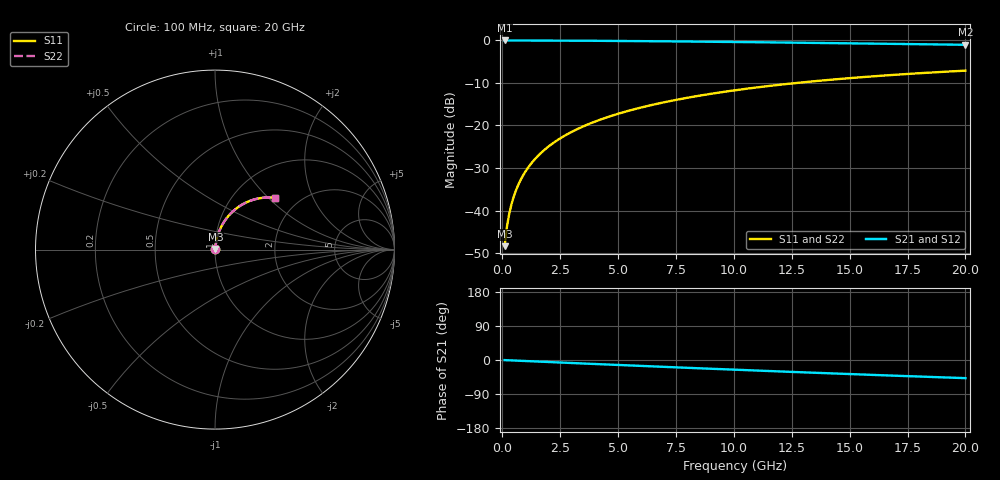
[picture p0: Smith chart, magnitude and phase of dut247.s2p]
! Touchstone file exported from HFSS 2026.1.0
!  File:  C:/ffzhzh/LocalFiles/Ansys_Project_Files/temp_train_BSMRDL_247_1782988549_45328.aedt
!  Generated:  06:37:16 PM Jul  2, 2026
!  Design:  BSMRDL
!  Project:  temp_train_BSMRDL_247_1782988549_45328
! Variables:
!  h_bsmrdl = 5.27um
!  h_ox = 20um
!  h_rdl = 5um
!  h_sub = 80um
!  h_tmrdl = 5um
!  h_tsv = 80um
!  h_via = 3um
!  l_bsmrdl = 706.45um
!  l_sub = 1106.45um
!  l_tmrdl = 200um
!  m_sub = 200um
!  pitch = 55.51um
!  r_tsv = 6um
!  s_tmrdl = 10um
!  w_bsmrdl = 22.23um
!  w_sub = 500um
!  w_tmrdl = 12um
!  x_tsv_center1 = 206um
!  x_tsv_center2 = 934.68um
!  x_tsv_center3 = 1146.68um
!  x_tsv_center4 = 1875.36um
!  x_tsv_center5 = 2087.36um
!  x_tsv_center6 = 2816.04um
# GHz S MA R 50.000000
! Terminal data exported
! Port[1] = BSM_RDL1_1_T1
! Port[2] = BSM_RDL1_1_T2
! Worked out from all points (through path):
!   200 points, 100 MHz to 20 GHz, reference 50 ohm
!   highest |S21| = -0.02 dB at 100 MHz (marker M1); lowest = -1.0 dB at 20 GHz (marker M2)
!   group delay of S21, straight-line fit = 6.65 ps
!   lowest |S11| = -48.4 dB at 100 MHz (marker M3), VSWR 1.01, Z = 50.2 + j0.304 ohm
!   |S11| at or under -10 dB: start of sweep to 12.73 GHz
!   |S22| runs from -48.4 to -7.1 dB; largest |S21 - S12| = 2.9e-14
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0.1  0.003809 52.7  0.9977 -0.3  0.9977 -0.3  0.003809 52.7
! Gamma 0 0 0 0
! Port Impedance 50 0 50 0
0.2  0.006449 67.2  0.9975 -0.6  0.9975 -0.6  0.006449 67.2
0.3  0.009186 73.0  0.9974 -0.8  0.9974 -0.8  0.009186 73.0
0.4  0.01194 76.1  0.9973 -1.1  0.9973 -1.1  0.01194 76.1
0.5  0.01472 78.0  0.9972 -1.4  0.9972 -1.4  0.01472 78.0
0.7  0.0203 80.1  0.997 -1.9  0.997 -1.9  0.0203 80.1
0.8  0.0231 80.7  0.9969 -2.2  0.9969 -2.2  0.0231 80.7
1  0.02871 81.4  0.9966 -2.7  0.9966 -2.7  0.02871 81.4
1.2  0.03433 81.6  0.9963 -3.2  0.9963 -3.2  0.03433 81.6
1.4  0.03993 81.6  0.996 -3.7  0.996 -3.7  0.03993 81.6
1.7  0.04832 81.4  0.9954 -4.5  0.9954 -4.5  0.04832 81.4
2  0.05666 81.0  0.9948 -5.3  0.9948 -5.3  0.05666 81.0
2.7  0.07593 79.7  0.9929 -7.2  0.9929 -7.2  0.07593 79.7
3.5  0.09758 77.9  0.9904 -9.3  0.9904 -9.3  0.09758 77.9
4.2  0.1162 76.2  0.9878 -11.1  0.9878 -11.1  0.1162 76.2
5  0.1371 74.3  0.9845 -13.1  0.9845 -13.1  0.1371 74.3
6.8  0.1826 70.1  0.976 -17.7  0.976 -17.7  0.1826 70.1
8.3  0.2188 66.6  0.9679 -21.4  0.9679 -21.4  0.2188 66.5
10.1  0.2603 62.4  0.957 -25.8  0.957 -25.8  0.2603 62.4
13.4  0.3296 54.9  0.9347 -33.5  0.9347 -33.5  0.3296 54.9
16.7  0.3897 47.7  0.9109 -40.9  0.9109 -40.9  0.3897 47.7
20  0.4406 40.8  0.8873 -47.9  0.8873 -47.9  0.4406 40.8
